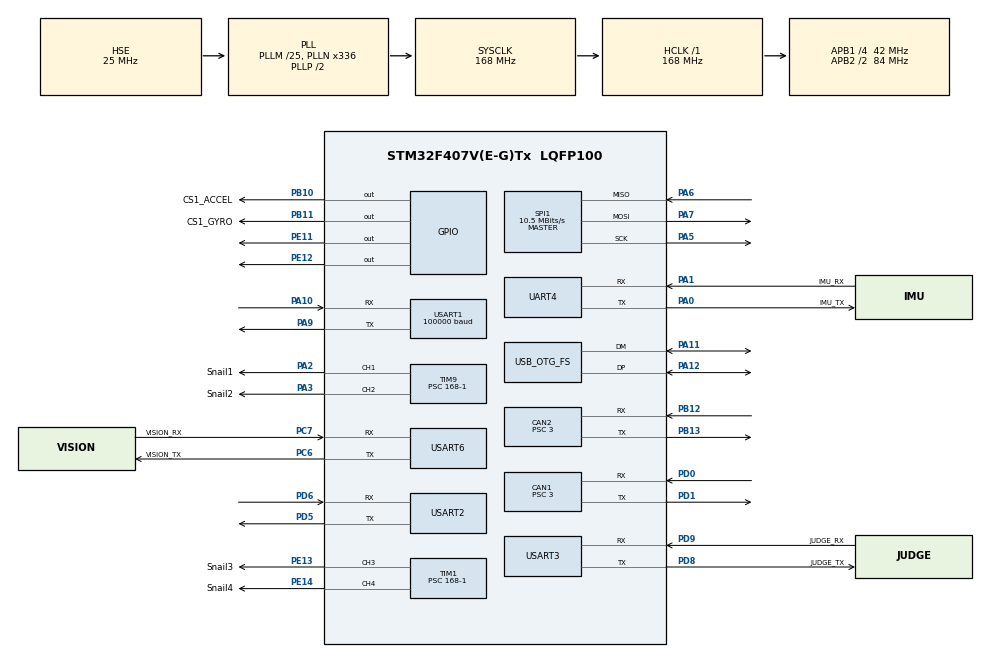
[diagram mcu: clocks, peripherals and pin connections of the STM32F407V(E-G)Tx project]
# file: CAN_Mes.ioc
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CAN1.BS1=CAN_BS1_9TQ
CAN1.BS2=CAN_BS2_4TQ
CAN1.CalculateBaudRate=1000000
CAN1.CalculateTimeBit=1000
CAN1.CalculateTimeQuantum=71.42857142857143
CAN1.NART=ENABLE
CAN1.Prescaler=3
CAN1.SJW=CAN_SJW_1TQ
CAN2.BS1=CAN_BS1_9TQ
CAN2.BS2=CAN_BS2_4TQ
CAN2.CalculateBaudRate=1000000
CAN2.CalculateTimeBit=1000
CAN2.CalculateTimeQuantum=71.42857142857143
CAN2.NART=ENABLE
CAN2.Prescaler=3
Dma.Request0=USART1_RX
Dma.Request1=USART3_RX
Dma.Request2=USART3_TX
Dma.USART1_RX.0.Direction=DMA_PERIPH_TO_MEMORY
Dma.USART1_RX.0.FIFOMode=DMA_FIFOMODE_DISABLE
Dma.USART1_RX.0.Instance=DMA2_Stream2
Dma.USART1_RX.0.MemDataAlignment=DMA_MDATAALIGN_BYTE
Dma.USART1_RX.0.MemInc=DMA_MINC_ENABLE
Dma.USART1_RX.0.Mode=DMA_CIRCULAR
Dma.USART1_RX.0.PeriphDataAlignment=DMA_PDATAALIGN_BYTE
Dma.USART1_RX.0.PeriphInc=DMA_PINC_DISABLE
Dma.USART1_RX.0.Priority=DMA_PRIORITY_VERY_HIGH
Dma.USART3_RX.1.Direction=DMA_PERIPH_TO_MEMORY
Dma.USART3_RX.1.FIFOMode=DMA_FIFOMODE_DISABLE
Dma.USART3_RX.1.Instance=DMA1_Stream1
Dma.USART3_RX.1.MemDataAlignment=DMA_MDATAALIGN_BYTE
Dma.USART3_RX.1.MemInc=DMA_MINC_ENABLE
Dma.USART3_RX.1.Mode=DMA_CIRCULAR
Dma.USART3_RX.1.PeriphDataAlignment=DMA_PDATAALIGN_BYTE
Dma.USART3_RX.1.PeriphInc=DMA_PINC_DISABLE
Dma.USART3_RX.1.Priority=DMA_PRIORITY_MEDIUM
Dma.USART3_TX.2.Direction=DMA_MEMORY_TO_PERIPH
Dma.USART3_TX.2.FIFOMode=DMA_FIFOMODE_DISABLE
Dma.USART3_TX.2.Instance=DMA1_Stream3
Dma.USART3_TX.2.MemDataAlignment=DMA_MDATAALIGN_BYTE
Dma.USART3_TX.2.MemInc=DMA_MINC_ENABLE
Dma.USART3_TX.2.Mode=DMA_NORMAL
Dma.USART3_TX.2.PeriphDataAlignment=DMA_PDATAALIGN_BYTE
Dma.USART3_TX.2.PeriphInc=DMA_PINC_DISABLE
Dma.USART3_TX.2.Priority=DMA_PRIORITY_MEDIUM
FREERTOS.Queues01=RDtHMsg,16,uint32_t,0,Dynamic,NULL,NULL;RDtCMsg,16,uint32_t,0,Dynamic,NULL,NULL;RDtSMsg,16,uint32_t,0,Dynamic,NULL,NULL;GBtHMsg,16,uint32_t,0,Dynamic,NULL,NULL
FREERTOS.Tasks01=MSG,0,256,TaskMsg,Default,NULL,Dynamic,NULL,NULL;_Shoot,3,512,Shoot,Default,NULL,Dynamic,NULL,NULL;_HolderMotor,3,512,HolderMotor,Default,NULL,Dynamic,NULL,NULL;_Chassis_Motor,0,512,Chassis_Motor,Default,NULL,Dynamic,NULL,NULL;_UI,-1,128,UI,Default,NULL,Dynamic,NULL,NULL;_Judge,2,1024,Judge,Default,NULL,Dynamic,NULL,NULL;_LED,0,256,LED,Default,NULL,Dynamic,NULL,NULL;_BMI088,0,128,BMI088Task,Default,NULL,Dynamic,NULL,NULL
FREERTOS.configTOTAL_HEAP_SIZE=17000
IWDG.Reload=3000
Mcu.Family=STM32F4
Mcu.Name=STM32F407V(E-G)Tx
Mcu.Package=LQFP100
NVIC.CAN1_RX0_IRQn=true\:5\:0\:false\:false\:true\:true\:true\:true\:true
NVIC.CAN1_TX_IRQn=true\:5\:0\:false\:false\:true\:true\:true\:true\:true
NVIC.CAN2_RX0_IRQn=true\:5\:0\:false\:false\:true\:true\:true\:true\:true
NVIC.CAN2_TX_IRQn=true\:5\:0\:false\:false\:true\:true\:true\:true\:true
NVIC.DMA1_Stream1_IRQn=true\:5\:0\:false\:false\:true\:true\:false\:true\:true
NVIC.DMA1_Stream3_IRQn=true\:5\:0\:false\:false\:true\:true\:false\:true\:true
NVIC.DMA2_Stream2_IRQn=true\:5\:0\:false\:false\:true\:true\:false\:true\:true
NVIC.OTG_FS_IRQn=true\:5\:0\:false\:false\:true\:true\:false\:true\:true
NVIC.PriorityGroup=NVIC_PRIORITYGROUP_4
NVIC.TIM1_BRK_TIM9_IRQn=true\:5\:0\:false\:false\:true\:true\:true\:true\:true
NVIC.TIM1_UP_TIM10_IRQn=true\:5\:0\:false\:false\:true\:true\:true\:true\:true
NVIC.TIM6_DAC_IRQn=true\:0\:0\:false\:false\:true\:false\:false\:true\:true
NVIC.TIM8_TRG_COM_TIM14_IRQn=true\:5\:0\:false\:false\:true\:true\:true\:true\:true
NVIC.TimeBase=TIM6_DAC_IRQn
NVIC.TimeBaseIP=TIM6
NVIC.UART4_IRQn=true\:5\:0\:true\:false\:true\:false\:true\:true\:true
NVIC.USART1_IRQn=true\:0\:0\:true\:false\:true\:false\:true\:true\:true
NVIC.USART2_IRQn=true\:0\:0\:true\:false\:true\:false\:true\:true\:true
NVIC.USART3_IRQn=true\:5\:0\:false\:false\:true\:true\:true\:true\:true
NVIC.USART6_IRQn=true\:5\:0\:false\:false\:true\:true\:true\:true\:true
PA0-WKUP.GPIO_Label=IMU_TX
PA0-WKUP.Mode=Asynchronous
PA0-WKUP.Signal=UART4_TX
PA1.GPIO_Label=IMU_RX
PA1.GPIO_PuPd=GPIO_PULLUP
PA1.Mode=Asynchronous
PA1.Signal=UART4_RX
PA10.Mode=Asynchronous
PA10.Signal=USART1_RX
PA11.Mode=Device_Only
PA11.Signal=USB_OTG_FS_DM
PA12.Mode=Device_Only
PA12.Signal=USB_OTG_FS_DP
PA13.Mode=Serial_Wire
PA13.Signal=SYS_JTMS-SWDIO
PA14.Mode=Serial_Wire
PA14.Signal=SYS_JTCK-SWCLK
PA2.GPIO_Label=Snail1
PA2.Signal=S_TIM9_CH1
PA3.GPIO_Label=Snail2
PA3.Signal=S_TIM9_CH2
PA5.Mode=Full_Duplex_Master
PA5.Signal=SPI1_SCK
PA6.Mode=Full_Duplex_Master
PA6.Signal=SPI1_MISO
PA7.Mode=Full_Duplex_Master
PA7.Signal=SPI1_MOSI
PA9.Mode=Asynchronous
PA9.Signal=USART1_TX
PB10.GPIO_Label=CS1_ACCEL
PB10.GPIO_PuPd=GPIO_PULLUP
PB10.GPIO_Speed=GPIO_SPEED_FREQ_HIGH
PB10.PinState=GPIO_PIN_SET
PB10.Signal=GPIO_Output
PB11.GPIO_Label=CS1_GYRO
PB11.GPIO_PuPd=GPIO_PULLUP
PB11.GPIO_Speed=GPIO_SPEED_FREQ_HIGH
PB11.PinState=GPIO_PIN_SET
PB11.Signal=GPIO_Output
PB12.Mode=CAN_Activate
PB12.Signal=CAN2_RX
PB13.Mode=CAN_Activate
PB13.Signal=CAN2_TX
PC6.GPIO_Label=VISION_TX
PC6.Mode=Asynchronous
PC6.Signal=USART6_TX
PC7.GPIO_Label=VISION_RX
PC7.Mode=Asynchronous
PC7.Signal=USART6_RX
PD0.Mode=CAN_Activate
PD0.Signal=CAN1_RX
PD1.Mode=CAN_Activate
PD1.Signal=CAN1_TX
PD5.Mode=Asynchronous
PD5.Signal=USART2_TX
PD6.Mode=Asynchronous
PD6.Signal=USART2_RX
PD8.GPIO_Label=JUDGE_TX
PD8.Mode=Asynchronous
PD8.Signal=USART3_TX
PD9.GPIO_Label=JUDGE_RX
PD9.Mode=Asynchronous
PD9.Signal=USART3_RX
PE11.GPIO_Speed=GPIO_SPEED_FREQ_HIGH
PE11.Signal=GPIO_Output
PE12.GPIO_Speed=GPIO_SPEED_FREQ_HIGH
PE12.Signal=GPIO_Output
PE13.GPIO_Label=Snail3
PE13.Signal=S_TIM1_CH3
PE14.GPIO_Label=Snail4
PE14.Signal=S_TIM1_CH4
PH0-OSC_IN.Mode=HSE-External-Oscillator
PH0-OSC_IN.Signal=RCC_OSC_IN
PH1-OSC_OUT.Mode=HSE-External-Oscillator
PH1-OSC_OUT.Signal=RCC_OSC_OUT
ProjectManager.HeapSize=0x2000
ProjectManager.StackSize=0x2000
ProjectManager.TargetToolchain=MDK-ARM V5
RCC.48MHZClocksFreq_Value=48000000
RCC.AHBFreq_Value=168000000
RCC.APB1CLKDivider=RCC_HCLK_DIV4
RCC.APB1Freq_Value=42000000
RCC.APB1TimFreq_Value=84000000
RCC.APB2CLKDivider=RCC_HCLK_DIV2
RCC.APB2Freq_Value=84000000
RCC.APB2TimFreq_Value=168000000
RCC.CortexFreq_Value=168000000
RCC.HCLKFreq_Value=168000000
RCC.HSE_VALUE=25000000
RCC.HSI_VALUE=16000000
RCC.LSE_VALUE=32768
RCC.PLLM=25
RCC.PLLN=336
RCC.PLLQ=7
RCC.SYSCLKFreq_VALUE=168000000
RCC.SYSCLKSource=RCC_SYSCLKSOURCE_PLLCLK
RCC.VCOOutputFreq_Value=336000000
SH.S_TIM1_CH3.0=TIM1_CH3,PWM Generation3 CH3
SH.S_TIM1_CH4.0=TIM1_CH4,PWM Generation4 CH4
SH.S_TIM9_CH1.0=TIM9_CH1,PWM Generation1 CH1
SH.S_TIM9_CH2.0=TIM9_CH2,PWM Generation2 CH2
SPI1.BaudRatePrescaler=SPI_BAUDRATEPRESCALER_8
SPI1.CLKPhase=SPI_PHASE_2EDGE
SPI1.CLKPolarity=SPI_POLARITY_HIGH
SPI1.CalculateBaudRate=10.5 MBits/s
SPI1.Direction=SPI_DIRECTION_2LINES
SPI1.Mode=SPI_MODE_MASTER
SPI1.VirtualType=VM_MASTER
STMicroelectronics.X-CUBE-ALGOBUILD.1.3.0.LibraryCcDSPOoLibraryJjDSPOoLibrary=true
TIM1.Channel-PWM\ Generation3\ CH3=TIM_CHANNEL_3
TIM1.Channel-PWM\ Generation4\ CH4=TIM_CHANNEL_4
TIM1.Period=2000-1
TIM1.Prescaler=168-1
TIM1.Pulse-PWM\ Generation3\ CH3=1000
TIM1.Pulse-PWM\ Generation4\ CH4=1000
TIM10.Period=2000-1
TIM10.Prescaler=8400-1
TIM14.Period=2500-1
TIM14.Prescaler=8400-1
TIM9.Channel-PWM\ Generation1\ CH1=TIM_CHANNEL_1
TIM9.Channel-PWM\ Generation2\ CH2=TIM_CHANNEL_2
TIM9.Period=2000-1
TIM9.Prescaler=168-1
TIM9.Pulse-PWM\ Generation1\ CH1=1000
TIM9.Pulse-PWM\ Generation2\ CH2=1000
UART4.VirtualMode=Asynchronous
USART1.BaudRate=100000
USART1.Parity=PARITY_EVEN
USART1.VirtualMode=VM_ASYNC
USART1.WordLength=WORDLENGTH_9B
USART2.VirtualMode=VM_ASYNC
USART3.VirtualMode=VM_ASYNC
USART6.VirtualMode=VM_ASYNC
USB_DEVICE.CLASS_NAME_FS=CDC
USB_DEVICE.VirtualMode-CDC_FS=Cdc
USB_DEVICE.VirtualModeFS=Cdc_FS
USB_OTG_FS.VirtualMode=Device_Only
VP_FREERTOS_VS_CMSIS_V1.Mode=CMSIS_V1
VP_IWDG_VS_IWDG.Mode=IWDG_Activate
VP_STMicroelectronics.X-CUBE-ALGOBUILD_VS_DSPOoLibraryJjLibrary_1.3.0_1.3.0.Mode=DSPOoLibraryJjLibrary
VP_SYS_VS_tim6.Mode=TIM6
VP_TIM10_VS_ClockSourceINT.Mode=Enable_Timer
VP_TIM14_VS_ClockSourceINT.Mode=Enable_Timer
VP_TIM1_VS_ClockSourceINT.Mode=Internal
VP_TIM9_VS_ClockSourceINT.Mode=Internal
VP_USB_DEVICE_VS_USB_DEVICE_CDC_FS.Mode=CDC_FS
board=custom

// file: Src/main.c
/* USER CODE BEGIN Header */
/**
  ******************************************************************************
  * @file           : main.c
  * @brief          : Main program body
  ******************************************************************************
  * @attention
  *
  * <h2><center>&copy; Copyright (c) 2022 STMicroelectronics.
  * All rights reserved.</center></h2>
  *
  * This software component is licensed by ST under BSD 3-Clause license,
  * the "License"; You may not use this file except in compliance with the
  * License. You may obtain a copy of the License at:
  *                        opensource.org/licenses/BSD-3-Clause
  *
  ******************************************************************************
  */
/* USER CODE END Header */
#include "main.h"
#include "cmsis_os.h"
#include "can.h"
#include "dma.h"
#include "iwdg.h"
#include "spi.h"
#include "tim.h"
#include "usart.h"
#include "usb_device.h"
#include "gpio.h"

/* USER CODE BEGIN Includes */
#include "usbd_cdc_if.h"
#include <string.h>
#include "chassis.h"
#include "Judge.h"
#include "Judge_Rx.h"
#include "Vision.h"
#include "Holder.h"
#include "shoot.h"
#include "bsp_dwt.h"
#include "BMI088driver.h"
/* USER CODE END Includes */

void SystemClock_Config(void);
void MX_FREERTOS_Init(void);

int main(void)
{

  /* MCU Configuration--------------------------------------------------------*/

  /* Reset of all peripherals, Initializes the Flash interface and the Systick. */
  HAL_Init();

  /* Configure the system clock */
  SystemClock_Config();

  /* Initialize all configured peripherals */
  MX_GPIO_Init();
  MX_DMA_Init();
  MX_CAN1_Init();
  MX_USART1_UART_Init();
  MX_USART2_UART_Init();
  MX_TIM1_Init();
  MX_CAN2_Init();
  MX_UART4_Init();
  MX_USART6_UART_Init();
  MX_USART3_UART_Init();
  MX_TIM14_Init();
  MX_IWDG_Init();
  MX_TIM9_Init();
  MX_SPI1_Init();
  MX_TIM10_Init();
  /* USER CODE BEGIN 2 */
	UART1_RemoteStart(); //开启遥控器
	UART3_JudgeStart();
//  UART4_IMUStart();
//	UART6_IMUStart();

  CAN1_FilterInit();  //开启CAN的接收和发送通讯
  CAN2_FilterInit();

	TIM1_PWMSTART();
	TIM9_PWMSTART();
	TIM10_START();
	TIM14_START();

	DWT_Init(168);
	while(BMI088_init(&hspi1, 0)!=BMI088_NO_ERROR){};//检查

	MX_IWDG_Init();      //看门狗
	HAL_Delay(1000);/*此处本来是Delay(2000),但此时板间通讯无法收到数据，改为1000后可正常使用，原理暂时不明*/

  /* USER CODE END 2 */

  /* Call init function for freertos objects (in freertos.c) */
  MX_FREERTOS_Init();

  /* Start scheduler */
  osKernelStart();

  /* We should never get here as control is now taken by the scheduler */
  /* Infinite loop */
  while (1)
  {

  }
}

void SystemClock_Config(void)
{
  RCC_OscInitTypeDef RCC_OscInitStruct = {0};
  RCC_ClkInitTypeDef RCC_ClkInitStruct = {0};

  /** Configure the main internal regulator output voltage
  */
  __HAL_RCC_PWR_CLK_ENABLE();
  __HAL_PWR_VOLTAGESCALING_CONFIG(PWR_REGULATOR_VOLTAGE_SCALE1);

  /** Initializes the RCC Oscillators according to the specified parameters
  * in the RCC_OscInitTypeDef structure.
  */
  RCC_OscInitStruct.OscillatorType = RCC_OSCILLATORTYPE_LSI|RCC_OSCILLATORTYPE_HSE;
  RCC_OscInitStruct.HSEState = RCC_HSE_ON;
  RCC_OscInitStruct.LSIState = RCC_LSI_ON;
  RCC_OscInitStruct.PLL.PLLState = RCC_PLL_ON;
  RCC_OscInitStruct.PLL.PLLSource = RCC_PLLSOURCE_HSE;
  RCC_OscInitStruct.PLL.PLLM = 25;
  RCC_OscInitStruct.PLL.PLLN = 336;
  RCC_OscInitStruct.PLL.PLLP = RCC_PLLP_DIV2;
  RCC_OscInitStruct.PLL.PLLQ = 7;
  if (HAL_RCC_OscConfig(&RCC_OscInitStruct) != HAL_OK)
  {
    Error_Handler();
  }

  /** Initializes the CPU, AHB and APB buses clocks
  */
  RCC_ClkInitStruct.ClockType = RCC_CLOCKTYPE_HCLK|RCC_CLOCKTYPE_SYSCLK
                              |RCC_CLOCKTYPE_PCLK1|RCC_CLOCKTYPE_PCLK2;
  RCC_ClkInitStruct.SYSCLKSource = RCC_SYSCLKSOURCE_PLLCLK;
  RCC_ClkInitStruct.AHBCLKDivider = RCC_SYSCLK_DIV1;
  RCC_ClkInitStruct.APB1CLKDivider = RCC_HCLK_DIV4;
  RCC_ClkInitStruct.APB2CLKDivider = RCC_HCLK_DIV2;

  if (HAL_RCC_ClockConfig(&RCC_ClkInitStruct, FLASH_LATENCY_5) != HAL_OK)
  {
    Error_Handler();
  }
}

void HAL_TIM_PeriodElapsedCallback(TIM_HandleTypeDef *htim)
{
  if (htim->Instance == TIM6) {
    HAL_IncTick();
  }
  /* USER CODE BEGIN Callback 1 */
	if(htim->Instance == TIM10)
	{
		shoot_cal_heat += shoot_heat_cnt * 5 - 8;
		shoot_heat_cnt = 0;
		if(shoot_cal_heat < 0)shoot_cal_heat = 0;
		hflag ++;
		if(hflag > 10)
		{
			hh2 = hh1;
			hh1 = 0;
			hflag = 0;
		}

		err_record = err_cnt;
		err_cnt = 0;
	}
  if (htim->Instance == TIM14)
	{
    Observer.Tx = Observer.Rx;
    memset(&Observer.Rx,0,sizeof(rate_t));
	  HAL_IWDG_Refresh(&hiwdg);
  }
  /* USER CODE END Callback 1 */
}

void Error_Handler(void)
{
}

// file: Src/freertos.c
/* USER CODE BEGIN Header */
/**
  ******************************************************************************
  * File Name          : freertos.c
  * Description        : Code for freertos applications
  ******************************************************************************
  * @attention
  *
  * <h2><center>&copy; Copyright (c) 2022 STMicroelectronics.
  * All rights reserved.</center></h2>
  *
  * This software component is licensed by ST under Ultimate Liberty license
  * SLA0044, the "License"; You may not use this file except in compliance with
  * the License. You may obtain a copy of the License at:
  *                             www.st.com/SLA0044
  *
  ******************************************************************************
  */
/* USER CODE END Header */

#include "FreeRTOS.h"
#include "task.h"
#include "main.h"
#include "cmsis_os.h"

/* USER CODE BEGIN Includes */
#include "shoot.h"
#include "usart.h"
#include "tim.h"
#include "Vision.h"
#include "Judge.h"
#include "Holder.h"
#include "chassis.h"
#include "can.h"
#include "BMI088driver.h"
//#include "MahonyAHRS.h"
#include "ins_task.h"
//#include "usbd_cdc_if.h"
/* USER CODE END Includes */

/* USER CODE BEGIN Variables */
  osEvent evt;
	osEvent evt0;
  osEvent evt1;
/* USER CODE END Variables */
osThreadId MSGHandle;
osThreadId _ShootHandle;
osThreadId _HolderMotorHandle;
osThreadId _Chassis_MotorHandle;
osThreadId _UIHandle;
osThreadId _JudgeHandle;
osThreadId _LEDHandle;
osThreadId _BMI088Handle;
osMessageQId RDtHMsgHandle;
osMessageQId RDtCMsgHandle;
osMessageQId RDtSMsgHandle;
osMessageQId GBtHMsgHandle;

void TaskMsg(void const * argument);
void Shoot(void const * argument);
void HolderMotor(void const * argument);
void Chassis_Motor(void const * argument);
void UI(void const * argument);
void Judge(void const * argument);
void LED(void const * argument);
void BMI088Task(void const * argument);

extern void MX_USB_DEVICE_Init(void);
void MX_FREERTOS_Init(void); /* (MISRA C 2004 rule 8.1) */

/* GetIdleTaskMemory prototype (linked to static allocation support) */
void vApplicationGetIdleTaskMemory( StaticTask_t **ppxIdleTaskTCBBuffer, StackType_t **ppxIdleTaskStackBuffer, uint32_t *pulIdleTaskStackSize );

/* USER CODE BEGIN GET_IDLE_TASK_MEMORY */
static StaticTask_t xIdleTaskTCBBuffer;
static StackType_t xIdleStack[configMINIMAL_STACK_SIZE];

void vApplicationGetIdleTaskMemory( StaticTask_t **ppxIdleTaskTCBBuffer, StackType_t **ppxIdleTaskStackBuffer, uint32_t *pulIdleTaskStackSize )
{
  *ppxIdleTaskTCBBuffer = &xIdleTaskTCBBuffer;
  *ppxIdleTaskStackBuffer = &xIdleStack[0];
  *pulIdleTaskStackSize = configMINIMAL_STACK_SIZE;
  /* place for user code */
}
/* USER CODE END GET_IDLE_TASK_MEMORY */

void MX_FREERTOS_Init(void) {

  /* Create the queue(s) */
  /* definition and creation of RDtHMsg */
  osMessageQDef(RDtHMsg, 16, uint32_t);
  RDtHMsgHandle = osMessageCreate(osMessageQ(RDtHMsg), NULL);

  /* definition and creation of RDtCMsg */
  osMessageQDef(RDtCMsg, 16, uint32_t);
  RDtCMsgHandle = osMessageCreate(osMessageQ(RDtCMsg), NULL);

  /* definition and creation of RDtSMsg */
  osMessageQDef(RDtSMsg, 16, uint32_t);
  RDtSMsgHandle = osMessageCreate(osMessageQ(RDtSMsg), NULL);

  /* definition and creation of GBtHMsg */
  osMessageQDef(GBtHMsg, 16, uint32_t);
  GBtHMsgHandle = osMessageCreate(osMessageQ(GBtHMsg), NULL);

  /* Create the thread(s) */
  /* definition and creation of MSG */
  osThreadDef(MSG, TaskMsg, osPriorityNormal, 0, 256);
  MSGHandle = osThreadCreate(osThread(MSG), NULL);

  /* definition and creation of _Shoot */
  osThreadDef(_Shoot, Shoot, osPriorityRealtime, 0, 512);
  _ShootHandle = osThreadCreate(osThread(_Shoot), NULL);

  /* definition and creation of _HolderMotor */
  osThreadDef(_HolderMotor, HolderMotor, osPriorityRealtime, 0, 512);
  _HolderMotorHandle = osThreadCreate(osThread(_HolderMotor), NULL);

  /* definition and creation of _Chassis_Motor */
  osThreadDef(_Chassis_Motor, Chassis_Motor, osPriorityNormal, 0, 512);
  _Chassis_MotorHandle = osThreadCreate(osThread(_Chassis_Motor), NULL);

  /* definition and creation of _UI */
  osThreadDef(_UI, UI, osPriorityBelowNormal, 0, 128);
  _UIHandle = osThreadCreate(osThread(_UI), NULL);

  /* definition and creation of _Judge */
  osThreadDef(_Judge, Judge, osPriorityHigh, 0, 1024);
  _JudgeHandle = osThreadCreate(osThread(_Judge), NULL);

  /* definition and creation of _LED */
  osThreadDef(_LED, LED, osPriorityNormal, 0, 256);
  _LEDHandle = osThreadCreate(osThread(_LED), NULL);

  /* definition and creation of _BMI088 */
  osThreadDef(_BMI088, BMI088Task, osPriorityNormal, 0, 128);
  _BMI088Handle = osThreadCreate(osThread(_BMI088), NULL);

}

/* USER CODE BEGIN Header_TaskMsg */
/**
  * @brief  Function implementing the MSG thread.
  * @param  argument: Not used
  * @retval None
  */
float angle_test[3];
float gyro_test[3];
float temprature;
/* USER CODE END Header_TaskMsg */
void TaskMsg(void const * argument)
{
  /* init code for USB_DEVICE */
  MX_USB_DEVICE_Init();
  /* USER CODE BEGIN TaskMsg */

  /* Infinite loop */
  for(;;)
  {
//		hh1++;
		  REMOTE_DATA_T RDMsg; /* 遥控器消息 */
      Holder_Data_T GBMsg; /* 云台陀螺仪消息 */

		  Msg_RemoteDataProcess(&RDMsg); /*< 遥控器消息解算 */
//			imuCalculateEstimatedAttitude();/*新陀螺仪消息解算*/
//
//			angle_test[0] = roll + 180.0f;
//			angle_test[1] = pitch + 180.0f;
//			angle_test[2] = yaw + 180.0f;
//			gyro_test[0] = BMI088.Gyro[0];//roll
//			gyro_test[1] = BMI088.Gyro[1];//pitch
//			gyro_test[2] = BMI088.Gyro[2];//yaw
//			temprature = BMI088.Temperature;
		  /* 发送消息队列的数据 */
      osMessagePut(RDtHMsgHandle, (uint32_t)&RDMsg, 0);
      osMessagePut(RDtCMsgHandle, (uint32_t)&RDMsg, 0);
      osMessagePut(RDtSMsgHandle, (uint32_t)&RDMsg, 0);
		  osMessagePut(GBtHMsgHandle, (uint32_t)&GBMsg, 0);
      osDelay(5); /*< 延时1个tick */
  }
  /* USER CODE END TaskMsg */
}

void Shoot(void const * argument)
{
  /* USER CODE BEGIN Shoot */
	  REMOTE_DATA_T *RDMsg;
    Shoot_PIDInit();
  /* Infinite loop */
  for(;;)
  {
//		hh1++;
		evt = osMessageGet(RDtSMsgHandle, 0);
		if (evt.status == osEventMessage)
		{
			RDMsg = (REMOTE_DATA_T *)evt.value.v;
		}
		Shoot_Process(*RDMsg);
		Shoot_CanTransmit();
    osDelay(1);
  }
  /* USER CODE END Shoot */
}

/* USER CODE BEGIN Header_HolderMotor */
/**
* @brief Function implementing the myTask04 thread.
* @param argument: Not used
* @retval None
*/
REMOTE_DATA_T *RDMsg_test;
Holder_Data_T *GBMsg_test;
Chassis_Data_T CAMsg_test;
/* USER CODE END Header_HolderMotor */
void HolderMotor(void const * argument)
{
  /* USER CODE BEGIN HolderMotor */
//    REMOTE_DATA_T *RDMsg;
//	  Holder_Data_T *GBMsg;
		REMOTE_DATA_T *RDMsg;
	  Holder_PidInit();
  /* Infinite loop */
  for(;;)
  {
		Msg_RemoteDataProcess(RDMsg);
		RDMsg_test = RDMsg;
//    evt0 = osMessageGet(RDtHMsgHandle,0);
//		evt1 = osMessageGet(GBtHMsgHandle,0);
//    if(evt0.status == osEventMessage || evt1.status == osEventMessage)
//     {
//        GBMsg = (Holder_Data_T*)evt1.value.v;
//			  RDMsg = (REMOTE_DATA_T*)evt0.value.v;
//			  RDMsg_test = RDMsg;
//			  GBMsg_test = GBMsg;
//     }
			hh1++;
			Holder_Process(*RDMsg);
			Holder_CanTransmit();
			osDelay(1);
  }
  /* USER CODE END HolderMotor */
}

/* USER CODE BEGIN Header_Chassis_Motor */
/**
* @brief Function implementing the myTask05 thread.
* @param argument: Not used
* @retval None
*/
float energy_timely = 0;
/* USER CODE END Header_Chassis_Motor */
void Chassis_Motor(void const * argument)
{
  /* USER CODE BEGIN Chassis_Motor */
//	 Holder_Data_T GBMsg_Chassis;
  /* Infinite loop */
  for(;;)
  {
//		hh1++;
	  osDelay(10);
  }
  /* USER CODE END Chassis_Motor */
}

/* USER CODE BEGIN Header_UI */
/**
* @brief Function implementing the _UI thread.
* @param argument: Not used
* @retval None
*/
int32_t tar_angle, cur_angle;
float Judge_power;
float num = 100.0f;
/* USER CODE END Header_UI */
void UI(void const * argument)
{
  /* USER CODE BEGIN UI */

  /* Infinite loop */
  for(;;)
  {
//		hh1++;
		  /* JScope观测波形 */
		tar_angle = Holder.Pitch_0x20B.TarAngle;
		cur_angle = Holder.Pitch_0x20B.IMU_Angle;

		  /* 蓝牙函数的使用：观测波形 */
			/*COM8*/
//		UART2_SendWave(5, 4, &Holder.Yaw_0x20A.TarAngle, &Holder.Yaw_0x20A.IMU_Angle, &Holder.Yaw_0x20A.TarSpeed, &Holder.Yaw_0x20A.IMU_Speed, &Holder.Yaw_0x20A.Output); //偏航
//		UART2_SendWave(4, 4, &Holder.Pitch_0x20B.TarAngle, &Holder.Pitch_0x20B.IMU_Angle, &Holder.Pitch_0x20B.TarSpeed, &Holder.Pitch_0x20B.IMU_Speed);//俯仰
//		UART2_SendWave(2,4, &Chassis.M3508[4].TarSpeed,&Chassis.M3508[4].Speed);     //底盘
//		UART2_SendWave(4,4, &Chassis.M3508[1].Speed,&Chassis.M3508[2].Speed,&Chassis.M3508[3].Speed,&Chassis.M3508[4].Speed);
//		UART2_SendWave(2, 4, &Shoot_M2006.TarAngle, &Shoot_M2006.Angle);  //拨盘
		UART2_SendWave(4, 4, &Holder.Yaw_0x20A.TarAngle, &Holder.Yaw_0x20A.IMU_Angle_Lpf, &Holder.Pitch_0x20B.TarAngle, &Holder.Pitch_0x20B.Motor_Angle); //偏航
//		UART2_SendWave(2, 4, &Holder.Yaw_0x20A.TarAngle, &Holder.Yaw_0x20A.IMU_Angle_Lpf); //偏航
//		UART2_SendWave(2, 4, &Judge_power,&num);
//			UART2_SendWave(1, 1, &Remote_Data.S2);
		osDelay(5);
  }//COM8
  /* USER CODE END UI */
}

void Judge(void const * argument)
{
  /* USER CODE BEGIN Judge */
    Judge_InitData();
  /* Infinite loop */
  for(;;)
  {
//		hh1++;
//		HAL_GPIO_TogglePin(GPIOE,GPIO_PIN_11);
		HAL_GPIO_WritePin(GPIOE,GPIO_PIN_11,GPIO_PIN_SET);
		HAL_GPIO_WritePin(GPIOE,GPIO_PIN_12,GPIO_PIN_RESET);
	  Judge_Proccess();
		Judge_SendData();
    osDelay(10);
  }
  /* USER CODE END Judge */
}

void LED(void const * argument)
{
  /* USER CODE BEGIN LED */
  /* Infinite loop */
  for(;;)
  {
//		hh1++;
		Judge_power = JUDGE_f32GetChassisPower();
		Vision_Judge();
		Vision_Get_cmdkeyboard();
		Vision_SendData();
		DownControl();
		DownControl2();
    osDelay(2);
  }
  /* USER CODE END LED */
}

void BMI088Task(void const * argument)
{
  /* USER CODE BEGIN BMI088Task */
	INS_Init();
  /* Infinite loop */
  for(;;)
  {
//		hh1++;
		INS_Task();
    osDelay(1);
  }
  /* USER CODE END BMI088Task */
}
